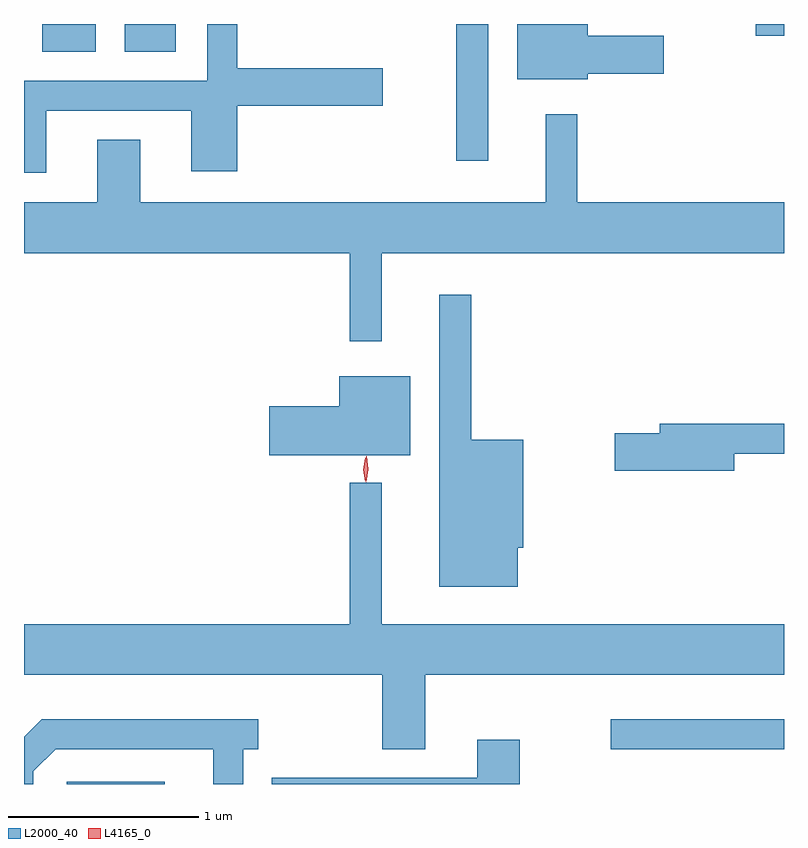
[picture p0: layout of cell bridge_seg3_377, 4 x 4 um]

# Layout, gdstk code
import gdstk
lib = gdstk.Library(unit=1e-6, precision=1e-09)
def R(c, l, rs):  # rectangles x0, y0, x1, y1
    for r in rs: c.add(gdstk.rectangle(r[:2], r[2:], *l))
def P(c, l, *ps):  # polygons
    for p in ps: c.add(gdstk.Polygon(p, *l))
L2000_40 = (2000, 40)
L4165_0 = (4165, 0)

bridge_seg3_377 = lib.new_cell('bridge_seg3_377')
R(bridge_seg3_377, L2000_40, [(537.241,1154.302,537.758,1154.314), (540.103,1154.486,541.016,1154.644), (539.291,1157.583,539.459,1158.302), (537.111,1158.156,537.394,1158.302), (537.546,1158.156,537.814,1158.302), (540.866,1158.241,541.016,1158.302)])
P(bridge_seg3_377, L2000_40, [(539.984,1158.041),(540.384,1158.041),(540.384,1158.239),(539.984,1158.239),(539.984,1158.302),(539.611,1158.302),(539.611,1158.011),(539.984,1158.011)],
  [(537.134,1157.846),(537.896,1157.846),(537.896,1157.526),(538.139,1157.526),(538.139,1157.871),(538.904,1157.871),(538.904,1158.069),(538.139,1158.069),(538.139,1158.302),(537.981,1158.302),(537.981,1158.004),(537.016,1158.004),(537.016,1157.518),(537.134,1157.518)],
  [(538.899,1157.096),(541.016,1157.096),(541.016,1157.364),(539.929,1157.364),(539.929,1157.828),(539.761,1157.828),(539.761,1157.364),(537.629,1157.364),(537.629,1157.694),(537.401,1157.694),(537.401,1157.364),(537.016,1157.364),(537.016,1157.096),(538.731,1157.096),(538.731,1156.633),(538.899,1156.633)],
  [(539.614,1155.546),(539.644,1155.546),(539.644,1156.114),(539.369,1156.114),(539.369,1156.878),(539.201,1156.878),(539.201,1155.341),(539.614,1155.341)],
  [(539.049,1156.449),(538.676,1156.449),(538.676,1156.289),(538.306,1156.289),(538.306,1156.031),(539.049,1156.031)],
  [(540.754,1156.041),(541.016,1156.041),(541.016,1156.199),(540.361,1156.199),(540.361,1156.149),(540.126,1156.149),(540.126,1155.951),(540.754,1155.951)],
  [(539.129,1154.876),(541.016,1154.876),(541.016,1155.144),(538.899,1155.144),(538.899,1155.888),(538.731,1155.888),(538.731,1155.144),(537.016,1155.144),(537.016,1154.876),(538.901,1154.876),(538.901,1154.486),(539.129,1154.486)],
  [(537.064,1154.369),(537.182,1154.486),(538.011,1154.486),(538.011,1154.302),(538.169,1154.302),(538.169,1154.486),(538.248,1154.486),(538.248,1154.644),(537.109,1154.644),(537.016,1154.551),(537.016,1154.302),(537.064,1154.302)],
  [(539.624,1154.534),(539.401,1154.534),(539.401,1154.334),(538.321,1154.334),(538.321,1154.302),(539.624,1154.302)])
P(bridge_seg3_377, L4165_0, [(538.812,1155.893),(538.812,1155.894),(538.802,1155.956),(538.812,1156.02),(538.812,1156.02),(538.813,1156.02),(538.822,1155.956),(538.813,1155.894)],
  [(538.816,1155.89),(538.808,1155.958),(538.818,1156.026),(538.818,1156.026),(538.819,1156.026),(538.828,1155.958),(538.817,1155.89),(538.817,1155.89)])

lib.write_gds('bridge_seg3_377.gds')
